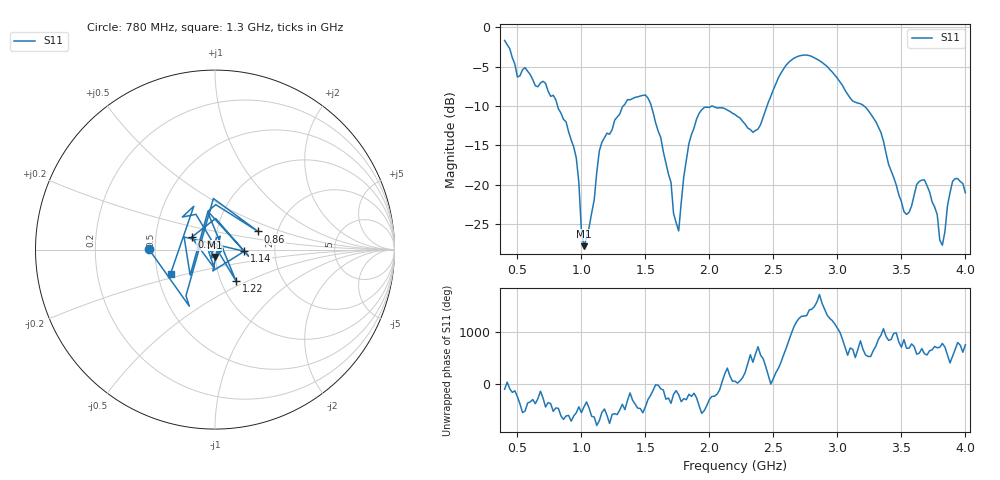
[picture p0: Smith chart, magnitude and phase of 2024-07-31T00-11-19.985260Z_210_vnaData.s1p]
!Created with skrf (http://scikit-rf.org).
# Hz S RI R 50.0
!freq ReS11 ImS11
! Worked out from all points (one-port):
!   181 points, 400 MHz to 4 GHz, reference 50 ohm
!   lowest |S11| = -27.8 dB at 1.02 GHz (marker M1), VSWR 1.08, Z = 49.6 - j4.03 ohm
!   |S11| at or under -10 dB: 813.8 MHz to 1.327 GHz (513.1 MHz wide, 47.9 % of centre); 1.546 GHz to 2.02 GHz (473.9 MHz wide, 26.6 % of centre); 3.207 GHz to end of sweep (the widest 3 of 4)
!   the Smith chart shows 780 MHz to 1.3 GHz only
!   S11 on the Smith chart (normalised r, x): 780 MHz: 0.46, +0.00; 860 MHz: 1.58, +0.34; 960 MHz: 0.76, +0.11; 1.14 GHz: 1.39, -0.03; 1.22 GHz: 1.18, -0.43; 1.3 GHz: 0.59, -0.17
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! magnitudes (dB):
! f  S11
! 400 MHz  -1.7
! 500 MHz  -6.3
! 560 MHz  -5.1
! 780 MHz  -8.7
! 860 MHz  -11.7
! 960 MHz  -16.6
! 1 GHz  -25.8
! 1.02 GHz  -27.8
! 1.1 GHz  -21.9
! 1.14 GHz  -15.7
! 1.22 GHz  -13.6
! 1.3 GHz  -11.0
! 1.52 GHz  -9.0
! 1.62 GHz  -14.0
! 1.76 GHz  -25.9
! 1.84 GHz  -14.8
! 1.92 GHz  -10.9
! 2.2 GHz  -11.1
! 2.38 GHz  -12.9
! 2.66 GHz  -3.9
! 2.88 GHz  -4.5
! 3.1 GHz  -9.0
! 3.3 GHz  -12.0
! 3.56 GHz  -23.5
! 3.68 GHz  -19.4
! 3.82 GHz  -27.7
! 3.9 GHz  -19.6
! 4 GHz  -21.0
